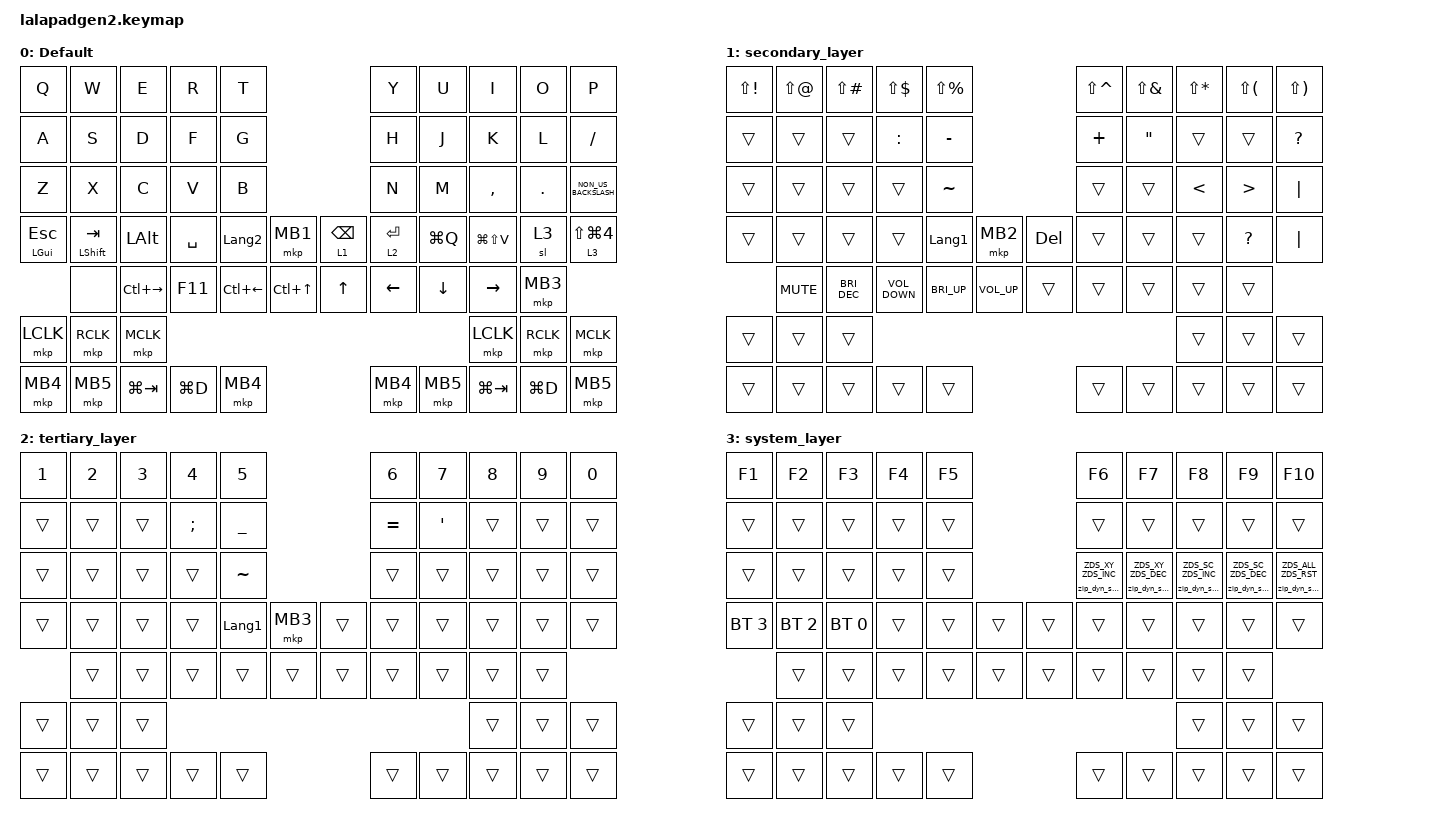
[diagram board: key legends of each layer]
#include <input/processors.dtsi>
#include <dt-bindings/zmk/zip_dynamic_scale.h>
#include <behaviors.dtsi>
#include <dt-bindings/zmk/bt.h>
#include <dt-bindings/zmk/keys.h>
#include <dt-bindings/zmk/pointing.h>

#define DEFAULT_LAYER   0
#define SECONDARY_LAYER 1
#define TERTIARY_LAYER  2
#define SYSTEM_LAYER    3

&mt { quick-tap-ms = <200>; };

&lt { quick-tap-ms = <200>; };

/ {
    behaviors {
        zip_dyn_scale: zip_dyn_scale {
            compatible = "zmk,behavior-zip-dynamic-scale";
            #binding-cells = <2>;
        };

        zip_dyn_scale_set: zip_dyn_scale_set {
            compatible = "zmk,behavior-zip-dynamic-scale-set";
            #binding-cells = <2>;
        };

        mt2: mod_tap2 {
            compatible = "zmk,behavior-hold-tap";
            #binding-cells = <2>;
            flavor = "tap-preferred";
            tapping-term-ms = <200>;
            quick-tap-ms = <200>;
            require-prior-idle-ms = <125>;
            bindings = <&kp>, <&kp>;
        };

        tap_dance_layer_1and2: tap_dance_layer_1and2 {
            compatible = "zmk,behavior-tap-dance";
            label = "td_mo12";
            #binding-cells = <0>;
            bindings = <&mo 1>, <&mo 2>;
        };

        mission_past: mission_past {
            compatible = "zmk,behavior-tap-dance";
            label = "MISSION_PAST";
            #binding-cells = <0>;
            bindings = <&kp LC(UP_ARROW)>, <&kp LG(LS(V))>;
        };
    };

    combos {
        compatible = "zmk,combos";

        CONBO_ESC {
            bindings = <&kp ESCAPE>;
            key-positions = <0 1>;
        };

        COMBO_TAB {
            bindings = <&kp TAB>;
            key-positions = <10 11>;
        };

        maru1 {
            bindings = <&kp LEFT_PARENTHESIS>;
            key-positions = <5 6>;
        };

        maru2 {
            bindings = <&kp RIGHT_PARENTHESIS>;
            key-positions = <6 7>;
        };

        kagi1 {
            bindings = <&kp LEFT_BRACKET>;
            key-positions = <15 16>;
        };

        kagi2 {
            bindings = <&kp RIGHT_BRACKET>;
            key-positions = <16 17>;
        };

        kado1 {
            bindings = <&kp LESS_THAN>;
            key-positions = <25 26>;
        };

        kado2 {
            bindings = <&kp GREATER_THAN>;
            key-positions = <26 27>;
        };
    };

    keymap {
        compatible = "zmk,keymap";

        DEFAULT_LAYER {
            display-name = "Default";
            bindings = <
&kp Q                &kp W               &kp E          &kp R      &kp T                                        &kp Y        &kp U      &kp I          &kp O       &kp P
&kp A                &kp S               &kp D          &kp F      &kp G                                        &kp H        &kp J      &kp K          &kp L       &kp SLASH
&kp Z                &kp X               &kp C          &kp V      &kp B                                        &kp N        &kp M      &kp COMMA      &kp PERIOD  &kp NON_US_BACKSLASH
&mt LEFT_GUI ESCAPE  &mt LEFT_SHIFT TAB  &kp LEFT_ALT   &kp SPACE  &kp LANGUAGE_2  &mkp MB1    &lt 1 BACKSPACE  &lt 2 ENTER  &kp LG(Q)  &kp LG(LS(V))  &sl 3       &lt 3 LS(LG(NUMBER_4))
                     &none               &kp LC(RIGHT)  &kp F11    &kp LC(LEFT)    &kp LC(UP)  &kp UP           &kp LEFT     &kp DOWN   &kp RIGHT      &mkp MB3
&mkp LCLK            &mkp RCLK           &mkp MCLK                                                                                      &mkp LCLK      &mkp RCLK   &mkp MCLK
&mkp MB4             &mkp MB5            &kp LG(TAB)    &kp LG(D)  &mkp MB4                                     &mkp MB4     &mkp MB5   &kp LG(TAB)    &kp LG(D)   &mkp MB5
            >;
        };

        SECONDARY_LAYER {
            display-name = "secondary_layer";
            bindings = <
&kp LS(EXCL)  &kp LS(AT)  &kp LS(POUND)  &kp LS(DLLR)       &kp LS(PRCNT)                             &kp LS(CARET)  &kp LS(AMPS)       &kp LS(STAR)   &kp LS(LPAR)      &kp LS(RPAR)
&trans        &trans      &trans         &kp COLON          &kp MINUS                                 &kp PLUS       &kp DOUBLE_QUOTES  &trans         &trans            &kp QUESTION
&trans        &trans      &trans         &trans             &kp TILDE                                 &trans         &trans             &kp LESS_THAN  &kp GREATER_THAN  &kp PIPE
&trans        &trans      &trans         &trans             &kp LANGUAGE_1  &mkp MB2      &kp DELETE  &trans         &trans             &trans         &kp QUESTION      &kp PIPE
              &kp K_MUTE  &kp C_BRI_DEC  &kp C_VOLUME_DOWN  &kp C_BRI_UP    &kp C_VOL_UP  &trans      &trans         &trans             &trans         &trans
&trans        &trans      &trans                                                                                                        &trans         &trans            &trans
&trans        &trans      &trans         &trans             &trans                                    &trans         &trans             &trans         &trans            &trans
            >;
        };

        TERTIARY_LAYER {
            display-name = "tertiary_layer";
            bindings = <
&kp N1  &kp N2  &kp N3  &kp N4         &kp N5                            &kp N6     &kp N7   &kp N8  &kp N9  &kp N0
&trans  &trans  &trans  &kp SEMICOLON  &kp UNDERSCORE                    &kp EQUAL  &kp SQT  &trans  &trans  &trans
&trans  &trans  &trans  &trans         &kp TILDE                         &trans     &trans   &trans  &trans  &trans
&trans  &trans  &trans  &trans         &kp LANGUAGE_1  &mkp MB3  &trans  &trans     &trans   &trans  &trans  &trans
        &trans  &trans  &trans         &trans          &trans    &trans  &trans     &trans   &trans  &trans
&trans  &trans  &trans                                                                       &trans  &trans  &trans
&trans  &trans  &trans  &trans         &trans                            &trans     &trans   &trans  &trans  &trans
            >;
        };

        SYSTEM_LAYER {
            display-name = "system_layer";
            bindings = <
&kp F1        &kp F2        &kp F3        &kp F4  &kp F5                  &kp F6                         &kp F7                         &kp F8                         &kp F9                         &kp F10
&trans        &trans        &trans        &trans  &trans                  &trans                         &trans                         &trans                         &trans                         &trans
&trans        &trans        &trans        &trans  &trans                  &zip_dyn_scale ZDS_XY ZDS_INC  &zip_dyn_scale ZDS_XY ZDS_DEC  &zip_dyn_scale ZDS_SC ZDS_INC  &zip_dyn_scale ZDS_SC ZDS_DEC  &zip_dyn_scale ZDS_ALL ZDS_RST
&bt BT_SEL 3  &bt BT_SEL 2  &bt BT_SEL 0  &trans  &trans  &trans  &trans  &trans                         &trans                         &trans                         &trans                         &trans
              &trans        &trans        &trans  &trans  &trans  &trans  &trans                         &trans                         &trans                         &trans
&trans        &trans        &trans                                                                                                      &trans                         &trans                         &trans
&trans        &trans        &trans        &trans  &trans                  &trans                         &trans                         &trans                         &trans                         &trans
            >;
        };
    };

    conditional_layers {
        compatible = "zmk,conditional-layers";

        Cond_Syslayer {
            if-layers = <1 2>;
            then-layer = <3>;
        };
    };
};
